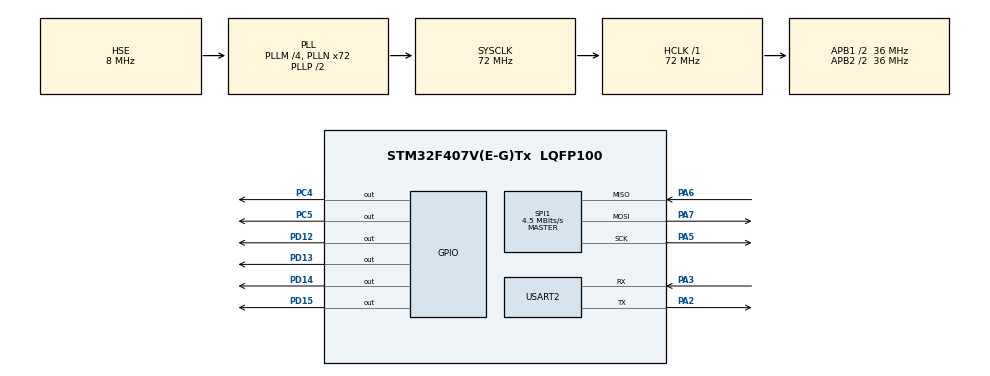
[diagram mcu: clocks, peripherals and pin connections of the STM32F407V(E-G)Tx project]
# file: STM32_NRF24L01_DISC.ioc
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Mcu.Family=STM32F4
Mcu.Name=STM32F407V(E-G)Tx
Mcu.Package=LQFP100
NVIC.PriorityGroup=NVIC_PRIORITYGROUP_0
PA13.Mode=Serial_Wire
PA13.Signal=SYS_JTMS-SWDIO
PA14.Mode=Serial_Wire
PA14.Signal=SYS_JTCK-SWCLK
PA2.Mode=Asynchronous
PA2.Signal=USART2_TX
PA3.Mode=Asynchronous
PA3.Signal=USART2_RX
PA5.Mode=Full_Duplex_Master
PA5.Signal=SPI1_SCK
PA6.Mode=Full_Duplex_Master
PA6.Signal=SPI1_MISO
PA7.Mode=Full_Duplex_Master
PA7.Signal=SPI1_MOSI
PC4.Signal=GPIO_Output
PC5.Signal=GPIO_Output
PD12.Signal=GPIO_Output
PD13.Signal=GPIO_Output
PD14.Signal=GPIO_Output
PD15.Signal=GPIO_Output
PH0-OSC_IN.Mode=HSE-External-Oscillator
PH0-OSC_IN.Signal=RCC_OSC_IN
PH1-OSC_OUT.Mode=HSE-External-Oscillator
PH1-OSC_OUT.Signal=RCC_OSC_OUT
ProjectManager.HeapSize=0x200
ProjectManager.StackSize=0x400
ProjectManager.TargetToolchain=STM32CubeIDE
RCC.48MHZClocksFreq_Value=20571428.57142857
RCC.AHBFreq_Value=72000000
RCC.APB1CLKDivider=RCC_HCLK_DIV2
RCC.APB1Freq_Value=36000000
RCC.APB1TimFreq_Value=72000000
RCC.APB2CLKDivider=RCC_HCLK_DIV2
RCC.APB2Freq_Value=36000000
RCC.APB2TimFreq_Value=72000000
RCC.CortexFreq_Value=72000000
RCC.HCLKFreq_Value=72000000
RCC.HSE_VALUE=8000000
RCC.HSI_VALUE=16000000
RCC.LSE_VALUE=32768
RCC.PLLM=4
RCC.PLLN=72
RCC.PLLQ=7
RCC.PLLSourceVirtual=RCC_PLLSOURCE_HSE
RCC.SYSCLKFreq_VALUE=72000000
RCC.SYSCLKSource=RCC_SYSCLKSOURCE_PLLCLK
RCC.VCOOutputFreq_Value=144000000
SPI1.BaudRatePrescaler=SPI_BAUDRATEPRESCALER_8
SPI1.CalculateBaudRate=4.5 MBits/s
SPI1.Direction=SPI_DIRECTION_2LINES
SPI1.Mode=SPI_MODE_MASTER
SPI1.VirtualType=VM_MASTER
USART2.VirtualMode=VM_ASYNC
board=STM32F407G-DISC1

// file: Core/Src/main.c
/* USER CODE BEGIN Header */
/**
  ******************************************************************************
  * @file           : main.c
  * @brief          : Main program body
  ******************************************************************************
  * @attention
  *
  * Copyright (c) 2025 STMicroelectronics.
  * All rights reserved.
  *
  * This software is licensed under terms that can be found in the LICENSE file
  * in the root directory of this software component.
  * If no LICENSE file comes with this software, it is provided AS-IS.
  *
  ******************************************************************************
  */
/* USER CODE END Header */
#include "main.h"

SPI_HandleTypeDef hspi1;

UART_HandleTypeDef huart2;

void SystemClock_Config(void);
static void MX_GPIO_Init(void);
static void MX_SPI1_Init(void);
static void MX_USART2_UART_Init(void);

/* USER CODE BEGIN 0 */

#include "NRF24L01.h"
#include "usart_printf.h"				//For UART

#define CE_PORT 	GPIOC
#define CE_PIN  	GPIO_PIN_4

#define CS_PORT 	GPIOC
#define CS_PIN  	GPIO_PIN_5

uint8_t RxAddress[]={0xEE, 0xDD, 0xCC, 0xBB, 0xAA};   		// It should be the same with TxAddress of other device
uint8_t RxData[32];

/* USER CODE END 0 */

int main(void)
{

  /* MCU Configuration--------------------------------------------------------*/

  /* Reset of all peripherals, Initializes the Flash interface and the Systick. */
  HAL_Init();

  /* Configure the system clock */
  SystemClock_Config();

  /* Initialize all configured peripherals */
  MX_GPIO_Init();
  MX_SPI1_Init();
  MX_USART2_UART_Init();
  /* USER CODE BEGIN 2 */

  usart_printf_init(&huart2);			//For UART

  NRF24L01 nrf24 = {
		  .hspi = &hspi1,
		  .CE={CE_PORT, CE_PIN},
		  .CS={CS_PORT, CS_PIN}
  };

  nrf24_init(&nrf24);

  //For Transmitter
  //nrf24_TxMode(&nrf24, TxAddress, 10);

  //For Receiver
  nrf24_RxMode(&nrf24, RxAddress, 10);

  /* USER CODE END 2 */

  /* Infinite loop */
  while (1)
  {

    /* USER CODE BEGIN 3 */
	  /*
	  //////---> Transmitter Code <---//////
	  if(nrf24_Transmit(&nrf24, TxData) == 1)
	  {
		  HAL_GPIO_TogglePin(GPIOD, GPIO_PIN_All);
	  }
	  HAL_Delay(1000);
	  //////////////////////////////////////
	  */
	  //////---> Transmitter Code <---//////
	  if(nrf24_IsDataAvailable(&nrf24, 1) == 1)
	  {
		  nrf24_Receive(&nrf24, RxData);
		  HAL_GPIO_TogglePin(GPIOD, GPIO_PIN_All);
		  printf("Data = %s", RxData);
	  }
	  HAL_Delay(1000);
	  //////////////////////////////////////
  }
  /* USER CODE END 3 */
}

void SystemClock_Config(void)
{
  RCC_OscInitTypeDef RCC_OscInitStruct = {0};
  RCC_ClkInitTypeDef RCC_ClkInitStruct = {0};

  /** Configure the main internal regulator output voltage
  */
  __HAL_RCC_PWR_CLK_ENABLE();
  __HAL_PWR_VOLTAGESCALING_CONFIG(PWR_REGULATOR_VOLTAGE_SCALE1);

  /** Initializes the RCC Oscillators according to the specified parameters
  * in the RCC_OscInitTypeDef structure.
  */
  RCC_OscInitStruct.OscillatorType = RCC_OSCILLATORTYPE_HSE;
  RCC_OscInitStruct.HSEState = RCC_HSE_ON;
  RCC_OscInitStruct.PLL.PLLState = RCC_PLL_ON;
  RCC_OscInitStruct.PLL.PLLSource = RCC_PLLSOURCE_HSE;
  RCC_OscInitStruct.PLL.PLLM = 4;
  RCC_OscInitStruct.PLL.PLLN = 72;
  RCC_OscInitStruct.PLL.PLLP = RCC_PLLP_DIV2;
  RCC_OscInitStruct.PLL.PLLQ = 7;
  if (HAL_RCC_OscConfig(&RCC_OscInitStruct) != HAL_OK)
  {
    Error_Handler();
  }

  /** Initializes the CPU, AHB and APB buses clocks
  */
  RCC_ClkInitStruct.ClockType = RCC_CLOCKTYPE_HCLK|RCC_CLOCKTYPE_SYSCLK
                              |RCC_CLOCKTYPE_PCLK1|RCC_CLOCKTYPE_PCLK2;
  RCC_ClkInitStruct.SYSCLKSource = RCC_SYSCLKSOURCE_PLLCLK;
  RCC_ClkInitStruct.AHBCLKDivider = RCC_SYSCLK_DIV1;
  RCC_ClkInitStruct.APB1CLKDivider = RCC_HCLK_DIV2;
  RCC_ClkInitStruct.APB2CLKDivider = RCC_HCLK_DIV2;

  if (HAL_RCC_ClockConfig(&RCC_ClkInitStruct, FLASH_LATENCY_2) != HAL_OK)
  {
    Error_Handler();
  }
}

static void MX_SPI1_Init(void)
{

  /* SPI1 parameter configuration*/
  hspi1.Instance = SPI1;
  hspi1.Init.Mode = SPI_MODE_MASTER;
  hspi1.Init.Direction = SPI_DIRECTION_2LINES;
  hspi1.Init.DataSize = SPI_DATASIZE_8BIT;
  hspi1.Init.CLKPolarity = SPI_POLARITY_LOW;
  hspi1.Init.CLKPhase = SPI_PHASE_1EDGE;
  hspi1.Init.NSS = SPI_NSS_SOFT;
  hspi1.Init.BaudRatePrescaler = SPI_BAUDRATEPRESCALER_8;
  hspi1.Init.FirstBit = SPI_FIRSTBIT_MSB;
  hspi1.Init.TIMode = SPI_TIMODE_DISABLE;
  hspi1.Init.CRCCalculation = SPI_CRCCALCULATION_DISABLE;
  hspi1.Init.CRCPolynomial = 10;
  if (HAL_SPI_Init(&hspi1) != HAL_OK)
  {
    Error_Handler();
  }

}

static void MX_USART2_UART_Init(void)
{

  huart2.Instance = USART2;
  huart2.Init.BaudRate = 115200;
  huart2.Init.WordLength = UART_WORDLENGTH_8B;
  huart2.Init.StopBits = UART_STOPBITS_1;
  huart2.Init.Parity = UART_PARITY_NONE;
  huart2.Init.Mode = UART_MODE_TX_RX;
  huart2.Init.HwFlowCtl = UART_HWCONTROL_NONE;
  huart2.Init.OverSampling = UART_OVERSAMPLING_16;
  if (HAL_UART_Init(&huart2) != HAL_OK)
  {
    Error_Handler();
  }

}

static void MX_GPIO_Init(void)
{
  GPIO_InitTypeDef GPIO_InitStruct = {0};

  /* GPIO Ports Clock Enable */
  __HAL_RCC_GPIOH_CLK_ENABLE();
  __HAL_RCC_GPIOA_CLK_ENABLE();
  __HAL_RCC_GPIOC_CLK_ENABLE();
  __HAL_RCC_GPIOD_CLK_ENABLE();

  /*Configure GPIO pin Output Level */
  HAL_GPIO_WritePin(GPIOC, GPIO_PIN_4|GPIO_PIN_5, GPIO_PIN_RESET);

  /*Configure GPIO pin Output Level */
  HAL_GPIO_WritePin(GPIOD, GPIO_PIN_12|GPIO_PIN_13|GPIO_PIN_14|GPIO_PIN_15, GPIO_PIN_RESET);

  /*Configure GPIO pins : PC4 PC5 */
  GPIO_InitStruct.Pin = GPIO_PIN_4|GPIO_PIN_5;
  GPIO_InitStruct.Mode = GPIO_MODE_OUTPUT_PP;
  GPIO_InitStruct.Pull = GPIO_NOPULL;
  GPIO_InitStruct.Speed = GPIO_SPEED_FREQ_LOW;
  HAL_GPIO_Init(GPIOC, &GPIO_InitStruct);

  /*Configure GPIO pins : PD12 PD13 PD14 PD15 */
  GPIO_InitStruct.Pin = GPIO_PIN_12|GPIO_PIN_13|GPIO_PIN_14|GPIO_PIN_15;
  GPIO_InitStruct.Mode = GPIO_MODE_OUTPUT_PP;
  GPIO_InitStruct.Pull = GPIO_NOPULL;
  GPIO_InitStruct.Speed = GPIO_SPEED_FREQ_LOW;
  HAL_GPIO_Init(GPIOD, &GPIO_InitStruct);

}

void Error_Handler(void)
{
  __disable_irq();
  while (1)
  {
  }
}
